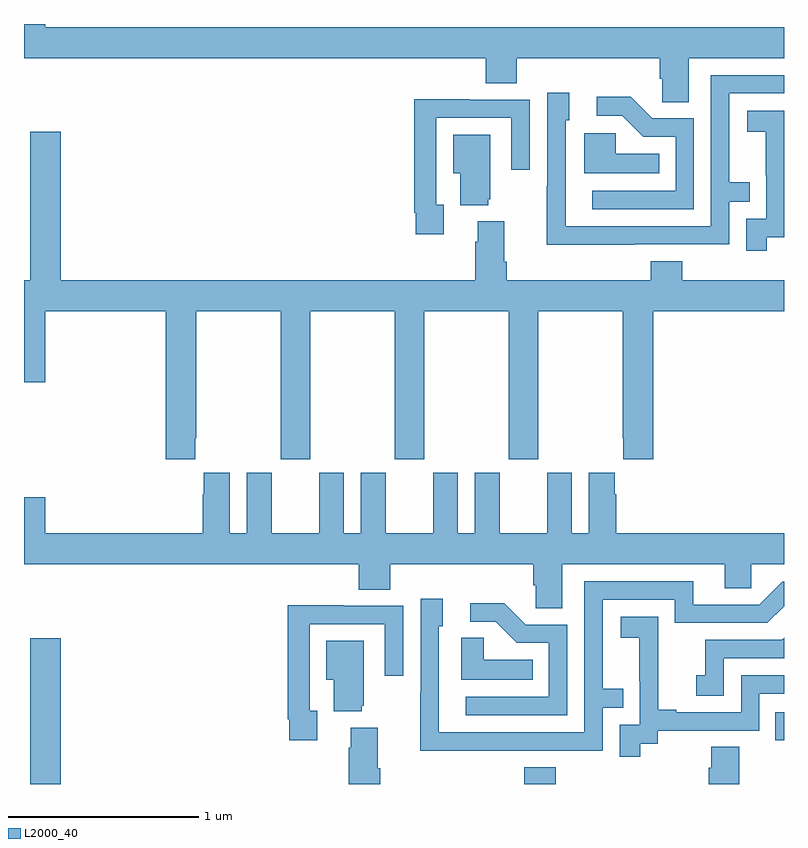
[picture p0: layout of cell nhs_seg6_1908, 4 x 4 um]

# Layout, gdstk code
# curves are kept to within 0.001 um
import gdstk
lib = gdstk.Library(unit=1e-6, precision=1e-09)
def R(c, l, rs):  # rectangles x0, y0, x1, y1
    for r in rs: c.add(gdstk.rectangle(r[:2], r[2:], *l))
def P(c, l, *ps):  # polygons
    for p in ps: c.add(gdstk.Polygon(p, *l))
L2000_40 = (2000, 40)

nhs_seg6_1908 = lib.new_cell('nhs_seg6_1908')
R(nhs_seg6_1908, L2000_40, [(225.034,959.5,225.194,960.268), (227.633,959.5,227.798,959.587), (228.955,959.73,229,959.877)])
P(nhs_seg6_1908, L2000_40, [(228.499,963.32),(229,963.32),(229,963.484),(225.112,963.484),(225.112,963.5),(225,963.5),(225,963.32),(227.429,963.32),(227.429,963.187),(227.594,963.187),(227.594,963.32),(228.347,963.32),(228.347,963.211),(228.36,963.211),(228.36,963.088),(228.499,963.088)],
  [(228.215,962.34),(228.711,962.34),(228.711,962.565),(228.821,962.565),(228.821,962.666),(228.711,962.666),(228.711,963.135),(229,963.135),(229,963.231),(228.615,963.231),(228.615,962.436),(227.851,962.436),(227.851,962.666),(227.85,962.666),(227.85,962.994),(227.869,962.994),(227.869,963.139),(227.754,963.139),(227.754,962.645),(227.752,962.645),(227.752,962.339),(228.215,962.339)],
  [(228.525,963.003),(228.306,963.003),(228.193,963.116),(228.015,963.116),(228.015,963.018),(228.149,963.018),(228.26,962.907),(228.429,962.907),(228.429,962.622),(227.991,962.622),(227.991,962.526),(228.525,962.526)],
  [(227.209,962.55),(227.169,962.55),(227.169,963.006),(227.565,963.006),(227.565,962.733),(227.661,962.733),(227.661,963.102),(227.345,963.102),(227.345,963.104),(227.053,963.104),(227.053,962.506),(227.061,962.506),(227.061,962.394),(227.209,962.394)],
  [(228.91,962.377),(229,962.377),(229,963.043),(228.807,963.043),(228.807,962.933),(228.905,962.933),(228.905,962.705),(228.906,962.705),(228.906,962.475),(228.801,962.475),(228.801,962.307),(228.91,962.307)],
  [(228.311,961.988),(229,961.988),(229,962.152),(228.464,962.152),(228.464,962.251),(228.299,962.251),(228.299,962.152),(227.54,962.152),(227.54,962.248),(227.527,962.248),(227.527,962.461),(227.387,962.461),(227.387,962.354),(227.375,962.354),(227.375,962.152),(225.194,962.152),(225.194,962.932),(225.034,962.932),(225.034,962.152),(225,962.152),(225,961.614),(225.112,961.614),(225.112,961.988),(225.746,961.988),(225.746,961.209),(225.901,961.209),(225.901,961.321),(225.906,961.321),(225.906,961.988),(226.351,961.988),(226.351,961.209),(226.506,961.209),(226.506,961.988),(226.951,961.988),(226.951,961.209),(227.106,961.209),(227.106,961.988),(227.551,961.988),(227.551,961.209),(227.706,961.209),(227.706,961.988),(228.151,961.988),(228.151,961.321),(228.155,961.321),(228.155,961.209),(228.311,961.209)],
  [(228.344,962.818),(228.114,962.818),(228.114,962.926),(227.948,962.926),(227.948,962.714),(228.344,962.714)],
  [(227.444,962.577),(227.455,962.577),(227.455,962.917),(227.258,962.917),(227.258,962.714),(227.297,962.714),(227.297,962.546),(227.444,962.546)],
  [(227.681,960.547),(227.694,960.547),(227.694,960.424),(227.833,960.424),(227.833,960.656),(228.689,960.656),(228.689,960.529),(228.828,960.529),(228.828,960.656),(229,960.656),(229,960.82),(228.116,960.82),(228.116,961.025),(228.109,961.025),(228.109,961.138),(227.972,961.138),(227.972,960.82),(227.884,960.82),(227.884,961.138),(227.753,961.138),(227.753,960.82),(227.503,960.82),(227.503,961.138),(227.372,961.138),(227.372,960.82),(227.284,960.82),(227.284,961.138),(227.153,961.138),(227.153,960.82),(226.903,960.82),(226.903,961.138),(226.772,961.138),(226.772,960.82),(226.684,960.82),(226.684,961.138),(226.553,961.138),(226.553,960.82),(226.303,960.82),(226.303,961.138),(226.172,961.138),(226.172,960.82),(226.084,960.82),(226.084,961.138),(225.947,961.138),(225.947,961.025),(225.941,961.025),(225.941,960.82),(225.112,960.82),(225.112,961.009),(225,961.009),(225,960.656),(226.763,960.656),(226.763,960.523),(226.928,960.523),(226.928,960.656),(227.681,960.656)],
  [(227.549,959.676),(228.045,959.676),(228.045,959.901),(228.155,959.901),(228.155,960.002),(228.045,960.002),(228.045,960.471),(228.426,960.471),(228.426,960.348),(228.912,960.348),(229,960.436),(229,960.564),(228.99,960.564),(228.87,960.444),(228.523,960.444),(228.523,960.567),(227.949,960.567),(227.949,959.772),(227.184,959.772),(227.184,960.33),(227.203,960.33),(227.203,960.475),(227.088,960.475),(227.088,959.981),(227.086,959.981),(227.086,959.675)],
  [(227.859,960.339),(227.64,960.339),(227.527,960.452),(227.349,960.452),(227.349,960.354),(227.483,960.354),(227.594,960.243),(227.763,960.243),(227.763,959.958),(227.325,959.958),(227.325,959.862),(227.859,959.862)],
  [(226.543,959.886),(226.503,959.886),(226.503,960.342),(226.899,960.342),(226.899,960.069),(226.995,960.069),(226.995,960.438),(226.679,960.438),(226.679,960.44),(226.387,960.44),(226.387,959.842),(226.395,959.842),(226.395,959.73),(226.543,959.73)],
  [(228.244,959.713),(228.336,959.713),(228.336,959.781),(228.87,959.781),(228.87,959.976),(229,959.976),(229,960.072),(228.774,960.072),(228.774,959.877),(228.433,959.877),(228.433,959.89),(228.338,959.89),(228.338,960.173),(228.339,960.173),(228.339,960.379),(228.141,960.379),(228.141,960.269),(228.239,960.269),(228.239,960.041),(228.24,960.041),(228.24,959.811),(228.135,959.811),(228.135,959.643),(228.244,959.643)],
  [(228.684,960.162),(229,960.162),(229,960.269),(228.989,960.258),(228.586,960.258),(228.586,960.073),(228.537,960.073),(228.537,959.964),(228.684,959.964)],
  [(227.678,960.154),(227.421,960.154),(227.421,960.269),(227.3,960.269),(227.3,960.05),(227.678,960.05)],
  [(226.778,959.913),(226.789,959.913),(226.789,960.253),(226.592,960.253),(226.592,960.05),(226.631,960.05),(226.631,959.882),(226.778,959.882)],
  [(226.874,959.584),(226.861,959.584),(226.861,959.797),(226.721,959.797),(226.721,959.69),(226.709,959.69),(226.709,959.5),(226.874,959.5)],
  [(228.765,959.696),(228.617,959.696),(228.617,959.586),(228.605,959.586),(228.605,959.5),(228.765,959.5)])

lib.write_gds('nhs_seg6_1908.gds')
